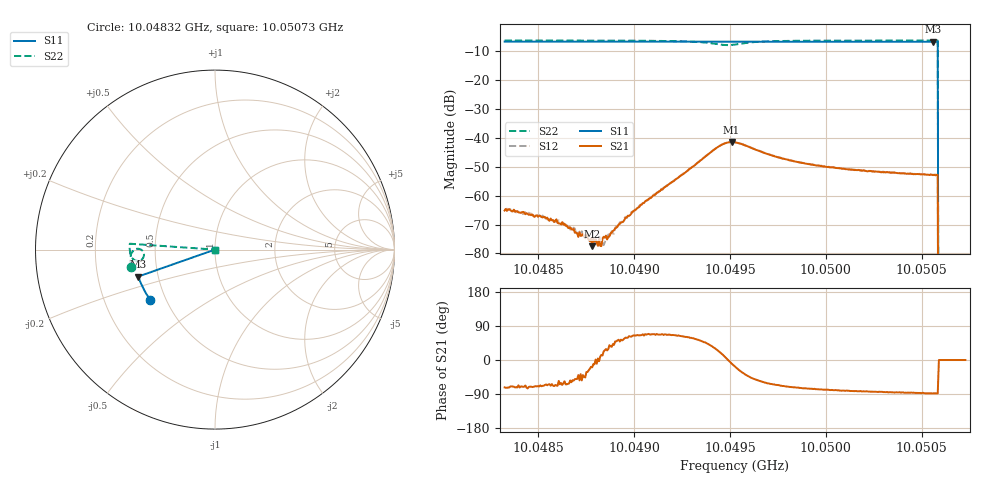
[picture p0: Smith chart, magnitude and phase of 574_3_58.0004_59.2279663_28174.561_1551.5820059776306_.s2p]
#  HZ  S  RI  R  50.00
! Rohde & Schwarz Vector Network Analyzer
! Rohde-Schwarz,ZNB20-2Port,1311601062101988,3.16
! Created: UTC 3/21/2024, 1:16:03 AM
! freq[Hz]  re:S11  im:S11  re:S21  im:S21  re:S12  im:S12  re:S22  im:S22
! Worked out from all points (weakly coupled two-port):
!   401 points, 10.04832 GHz to 10.05073 GHz, reference 50 ohm
!   highest |S21| = -41.53 dB at 10.04951 GHz (marker M1); lowest = -77.5 dB at 10.04878 GHz (marker M2)
!   lowest |S11| = -6.9 dB at 10.05056 GHz (marker M3), VSWR 2.65, Z = 19.3 - j7.35 ohm
!   |S11| at or under -10 dB: 10.05058 GHz to end of sweep
!   |S22| runs from - to -6.4 dB; largest |S21 - S12| = 0.00063
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1.0048324e10  -0.3597 -0.2811  0.000167 -0.000525  0.000202 -0.000551  -0.4671 -0.0975
1.0048534e10  -0.3676 -0.2698  0.000173 -0.000388  0.000177 -0.000373  -0.4694 -0.0823
1.0048618e10  -0.3708 -0.2651  0.000153 -0.000277  0.000185 -0.000291  -0.4702 -0.076
1.0048708e10  -0.374 -0.2602  0.000149 -0.000123  0.000137 -0.000153  -0.4709 -0.0692
1.0048726e10  -0.3747 -0.2592  0.00012 -0.000164  0.000166 -0.000176  -0.4709 -0.0676
1.0048781e10  -0.3767 -0.2563  0.000126 -4.44e-05  0.00015 -4.09e-05  -0.4712 -0.0633
1.0048805e10  -0.3776 -0.2549  0.00015 -2.6e-05  0.000174 2.41e-05  -0.4712 -0.0613
1.0048817e10  -0.378 -0.2542  0.000177 -9.74e-06  0.000146 3.25e-05  -0.4714 -0.0603
1.0048847e10  -0.379 -0.2525  0.000169 8.16e-05  0.000152 3.68e-05  -0.4715 -0.0578
1.0048871e10  -0.3799 -0.2512  0.000153 0.000124  0.000169 0.000132  -0.4714 -0.0558
1.0048943e10  -0.3822 -0.2472  0.000209 0.000286  0.000165 0.000359  -0.4712 -0.0492
1.0049129e10  -0.3886 -0.2364  0.000454 0.00108  0.00038 0.00113  -0.4688 -0.0299
1.004943e10  -0.3974 -0.2188  0.0059 0.00308  0.0057 0.00345  -0.4144 0.00103
1.0049508e10  -0.3994 -0.2148  0.00827 -0.00136  0.0084 -0.000746  -0.3975 -0.0395
1.0049526e10  -0.4 -0.2139  0.00793 -0.00253  0.0081 -0.00199  -0.4025 -0.0493
1.0049736e10  -0.4066 -0.2017  0.00196 -0.00429  0.00226 -0.00423  -0.463 -0.0449
1.0049929e10  -0.4117 -0.19  0.000831 -0.00332  0.00104 -0.00332  -0.4724 -0.0213
1.0050332e10  -0.4217 -0.1654  0.000219 -0.00252  0.000376 -0.0025  -0.4753 0.0138
1.005056e10  -0.4265 -0.1513  7.93e-05 -0.00225  0.000213 -0.00228  -0.4747 0.0311
1.0050572e10  -0.4268 -0.1506  7.93e-05 -0.00224  0.000212 -0.0023  -0.4747 0.032
1.0050602e10  0 0  0 0  0 0  0 0
1.0050728e10  0 0  0 0  0 0  0 0
